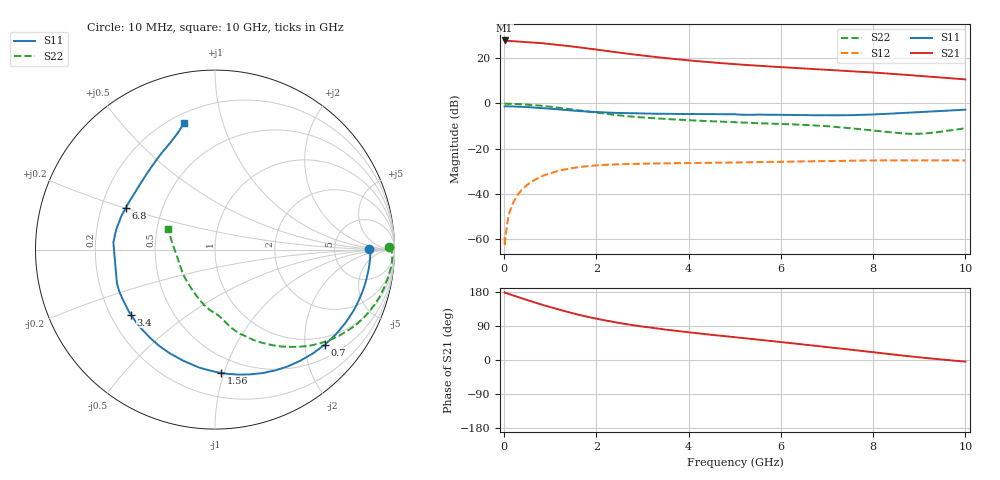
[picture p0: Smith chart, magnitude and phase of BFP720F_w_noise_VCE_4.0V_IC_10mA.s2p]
! Infineon Technologies  Discrete & RF Semiconductors
! BFP720F
! VCE =  4.0 V,  IC =  10 mA
! Common Emitter S-Parameters:  Jan 2016
# GHz  S  MA  R  50
!  f  S11  S21  S12  S22
! GHz  MAG  ANG  MAG  ANG  MAG  ANG  MAG  ANG
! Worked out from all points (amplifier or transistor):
!   233 points, 10 MHz to 10 GHz, reference 50 ohm
!   highest |S21| = 27.9 dB at 10 MHz (marker M1)
!   |S21| within 3 dB of that: start of sweep to 1.624 GHz
!   unconditionally stable (mu >= 1): start of sweep to 15.78 MHz; 6.717 GHz to end of sweep
!   at 200 MHz: K = 0.14, MSG = 35.6 dB, |S12| = -43.7 dB
!   at 1.74 GHz: K = 0.31, MSG = 26.2 dB, |S12| = -27.9 dB
!   at 10 GHz: K = 1.26, MAG = 14.8 dB, |S12| = -25.2 dB
!   lowest NFmin = 0.55 dB at 450 MHz
!   S11 on the Smith chart (normalised r, x): 10 MHz: 13, +0; 700 MHz: 0.80, -2.45; 1.56 GHz: 0.38, -0.98; 3.4 GHz: 0.28, -0.32; 6.8 GHz: 0.30, +0.20; 10 GHz: 0.25, +0.76
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0.01  0.8586 0.2  24.72 178.6  0.0011 -19.9  0.9722 0.9
0.02  0.8666 -0.9  24.33 176.7  0.0009 64.6  0.9893 -1.2
0.05  0.866 -3.0  24.42 176.7  0.0016 70.4  0.9883 -1.7
0.13  0.8625 -7.7  24.11 173.0  0.0043 79.3  0.987 -4.6
0.26  0.855 -15.4  23.57 167.5  0.0084 77.9  0.9767 -9.3
0.46  0.8371 -27.1  22.78 159.6  0.0146 72.8  0.9525 -16.3
0.7  0.8089 -41.0  21.87 150.5  0.0215 65.7  0.9128 -24.4
0.88  0.7827 -51.4  21.21 143.8  0.026 60.5  0.8753 -30.2
1.12  0.749 -64.4  20 135.4  0.0313 53.9  0.8204 -37.4
1.3  0.723 -74.0  19.11 129.3  0.0346 49.2  0.7774 -42.5
1.56  0.6877 -87.1  17.81 121.2  0.0384 43.3  0.7164 -49.1
1.68  0.6735 -92.9  17.2 117.6  0.0398 40.7  0.6889 -51.9
2.02  0.6416 -106.9  15.46 108.5  0.0428 34.5  0.6204 -59.1
2.2  0.6305 -113.5  14.61 104.2  0.044 31.6  0.5891 -62.4
2.54  0.6134 -124.1  13.13 96.8  0.0454 27.0  0.5395 -67.7
3  0.6006 -135.4  11.49 88.2  0.0466 22.7  0.491 -73.3
3.4  0.5924 -142.3  10.33 81.9  0.0473 19.9  0.4612 -76.5
4  0.5847 -150.8  8.959 73.0  0.0481 16.7  0.4258 -80.1
5.1  0.5682 -165.7  7.279 58.9  0.0497 12.9  0.381 -85.0
6.8  0.5486 154.9  5.702 36.8  0.0529 8.3  0.3232 -98.6
8.4  0.5981 122.8  4.54 14.9  0.0553 3.0  0.2295 -137.1
10  0.7282 103.6  3.406 -4.3  0.0551 -0.5  0.2842 156.5
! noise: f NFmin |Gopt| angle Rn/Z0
0.45  0.55  0.3  3  0.33
0.9  0.58  0.27  8  0.12
1.8  0.62  0.25  13  0.15
2.4  0.65  0.22  23  0.14
5.5  0.8  0.2  43  0.09
10  1  0.28  -91  0.17
